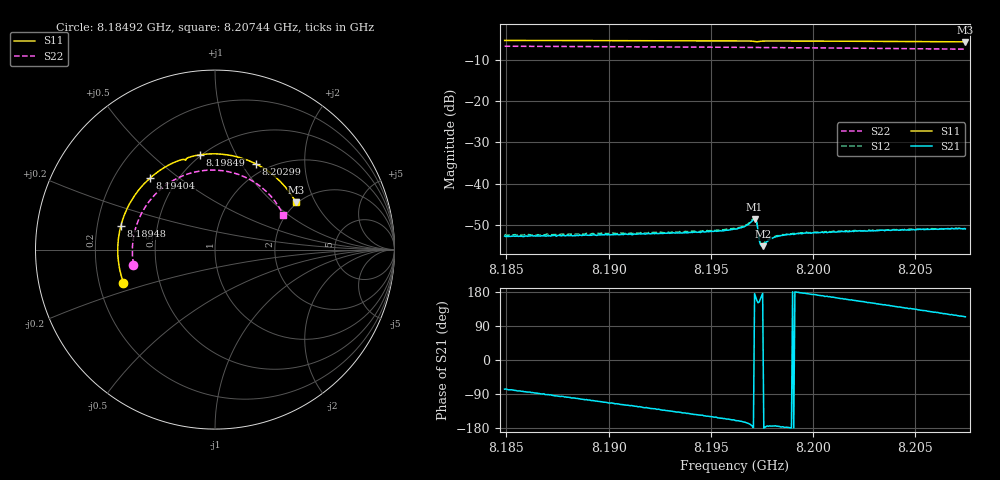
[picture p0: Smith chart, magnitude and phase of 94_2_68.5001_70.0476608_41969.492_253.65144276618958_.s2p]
#  HZ  S  RI  R  50.00
! Rohde & Schwarz Vector Network Analyzer
! Rohde-Schwarz,ZNB20-2Port,1311601062101988,3.16
! Created: UTC 3/20/2024, 5:07:55 PM
! freq[Hz]  re:S11  im:S11  re:S21  im:S21  re:S12  im:S12  re:S22  im:S22
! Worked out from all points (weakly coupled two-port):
!   401 points, 8.18492 GHz to 8.20744 GHz, reference 50 ohm
!   highest |S21| = -48.55 dB at 8.19714 GHz (marker M1); lowest = -55.1 dB at 8.19753 GHz (marker M2)
!   lowest |S11| = -5.6 dB at 8.20744 GHz (marker M3), VSWR 3.18, Z = 98.1 + j70.9 ohm
!   |S11| at or under -10 dB: nowhere
!   |S22| runs from -7.4 to -6.7 dB; largest |S21 - S12| = 0.0002
!   S11 on the Smith chart (normalised r, x): 8.18492 GHz: 0.30, -0.16; 8.18948 GHz: 0.30, +0.11; 8.19404 GHz: 0.35, +0.40; 8.19849 GHz: 0.49, +0.73; 8.20299 GHz: 0.87, +1.16; 8.20744 GHz: 1.96, +1.42
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8.184916e9  -0.5105 -0.1843  0.000523 -0.00226  0.000519 -0.00231  -0.4542 -0.0836
8.186831e9  -0.5392 -0.0543  3.88e-05 -0.00233  -8.43e-05 -0.0024  -0.4594 0.0224
8.188689e9  -0.5362 0.0754  -0.000547 -0.00229  -0.000623 -0.00239  -0.441 0.124
8.189477e9  -0.5253 0.1294  -0.000785 -0.00226  -0.000851 -0.00235  -0.4262 0.1652
8.192462e9  -0.4365 0.3174  -0.0016 -0.00191  -0.00173 -0.0019  -0.3366 0.3037
8.194038e9  -0.3616 0.3991  -0.00205 -0.00156  -0.00214 -0.00157  -0.27 0.3616
8.196178e9  -0.2355 0.4822  -0.00264 -0.00099  -0.00268 -0.00095  -0.164 0.4169
8.196685e9  -0.2013 0.4963  -0.00295 -0.000819  -0.00303 -0.000712  -0.1371 0.4257
8.197022e9  -0.1757 0.5023  -0.00353 -0.000331  -0.00364 -0.000194  -0.1185 0.4306
8.197135e9  -0.1669 0.501  -0.00372 0.000323  -0.0038 0.000491  -0.1122 0.4319
8.197191e9  -0.1639 0.4992  -0.00355 0.000863  -0.0036 0.00104  -0.1092 0.4325
8.197248e9  -0.1634 0.4977  -0.00305 0.0013  -0.00306 0.00148  -0.1062 0.4332
8.197417e9  -0.1602 0.5055  -0.00174 0.000605  -0.00173 0.000681  -0.0971 0.4353
8.197473e9  -0.1566 0.5085  -0.00172 0.000321  -0.00175 0.000376  -0.0939 0.4358
8.197529e9  -0.1526 0.5108  -0.00174 0.000126  -0.00184 0.000225  -0.0907 0.4365
8.19798e9  -0.1197 0.5212  -0.00216 -0.00021  -0.00223 -0.00015  -0.0655 0.4402
8.198486e9  -0.0836 0.528  -0.00235 -0.00016  -0.00241 -8.39e-05  -0.0369 0.4427
8.19995e9  0.0202 0.5328  -0.00252 0.000303  -0.00253 0.000417  0.0462 0.4391
8.202991e9  0.2266 0.4781  -0.00232 0.00137  -0.00233 0.00148  0.2095 0.3819
8.203723e9  0.2719 0.4528  -0.00221 0.0016  -0.00216 0.00169  0.2448 0.3582
8.205694e9  0.3789 0.3636  -0.00173 0.00219  -0.00167 0.00228  0.3271 0.2786
8.207439e9  0.4508 0.2629  -0.00115 0.00258  -0.00109 0.00265  0.3807 0.1907
